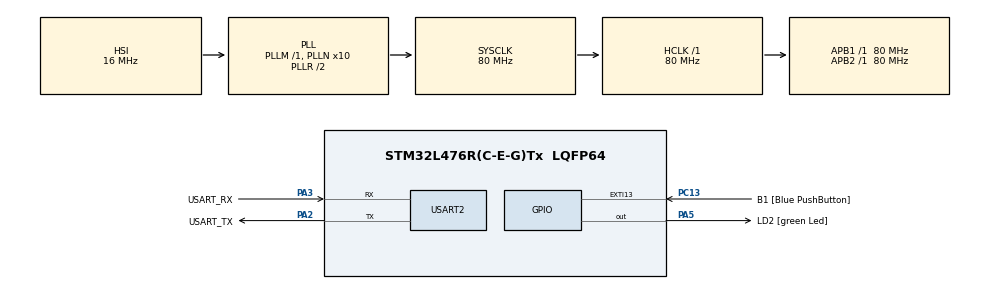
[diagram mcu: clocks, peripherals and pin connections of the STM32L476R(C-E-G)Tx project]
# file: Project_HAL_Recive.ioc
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Mcu.Family=STM32L4
Mcu.Name=STM32L476R(C-E-G)Tx
Mcu.Package=LQFP64
NVIC.PriorityGroup=NVIC_PRIORITYGROUP_4
PA13\ (JTMS-SWDIO).GPIO_Label=TMS
PA13\ (JTMS-SWDIO).Signal=SYS_JTMS-SWDIO
PA14\ (JTCK-SWCLK).GPIO_Label=TCK
PA14\ (JTCK-SWCLK).Signal=SYS_JTCK-SWCLK
PA2.GPIO_Label=USART_TX
PA2.GPIO_Mode=GPIO_MODE_AF_PP
PA2.GPIO_PuPd=GPIO_NOPULL
PA2.GPIO_Speed=GPIO_SPEED_FREQ_VERY_HIGH
PA2.Mode=Asynchronous
PA2.Signal=USART2_TX
PA3.GPIO_Label=USART_RX
PA3.GPIO_Mode=GPIO_MODE_AF_PP
PA3.GPIO_PuPd=GPIO_NOPULL
PA3.GPIO_Speed=GPIO_SPEED_FREQ_VERY_HIGH
PA3.Mode=Asynchronous
PA3.Signal=USART2_RX
PA5.GPIO_Label=LD2 [green Led]
PA5.GPIO_ModeDefaultOutputPP=GPIO_MODE_OUTPUT_PP
PA5.GPIO_PuPd=GPIO_NOPULL
PA5.GPIO_Speed=GPIO_SPEED_FREQ_LOW
PA5.Signal=GPIO_Output
PB3\ (JTDO-TRACESWO).GPIO_Label=SWO
PB3\ (JTDO-TRACESWO).Signal=SYS_JTDO-SWO
PC13.GPIO_Label=B1 [Blue PushButton]
PC13.GPIO_ModeDefaultEXTI=GPIO_MODE_IT_FALLING
PC13.GPIO_PuPd=GPIO_NOPULL
PC13.Signal=GPXTI13
PC14-OSC32_IN\ (PC14).Signal=RCC_OSC32_IN
PC15-OSC32_OUT\ (PC15).Signal=RCC_OSC32_OUT
PH0-OSC_IN\ (PH0).Signal=RCC_OSC_IN
PH1-OSC_OUT\ (PH1).Signal=RCC_OSC_OUT
ProjectManager.HeapSize=0x200
ProjectManager.StackSize=0x400
ProjectManager.TargetToolchain=STM32CubeIDE
RCC.ADCFreq_Value=64000000
RCC.AHBFreq_Value=80000000
RCC.APB1Freq_Value=80000000
RCC.APB1TimFreq_Value=80000000
RCC.APB2Freq_Value=80000000
RCC.APB2TimFreq_Value=80000000
RCC.CortexFreq_Value=80000000
RCC.HCLKFreq_Value=80000000
RCC.HSE_VALUE=8000000
RCC.HSI_VALUE=16000000
RCC.LSE_VALUE=32768
RCC.MSI_VALUE=4000000
RCC.PLLN=10
RCC.PLLSourceVirtual=RCC_PLLSOURCE_HSI
RCC.PREFETCH_ENABLE=1
RCC.SYSCLKFreq_VALUE=80000000
RCC.SYSCLKSource=RCC_SYSCLKSOURCE_PLLCLK
RCC.USBFreq_Value=64000000
RCC.VCOOutputFreq_Value=160000000
USART2.VirtualMode-Asynchronous=VM_ASYNC
board=NUCLEO-L476RG

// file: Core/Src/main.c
/* USER CODE BEGIN Header */
/**
  ******************************************************************************
  * @file           : main.c
  * @brief          : Main program body
  ******************************************************************************
  * @attention
  *
  * Copyright (c) 2022 STMicroelectronics.
  * All rights reserved.
  *
  * This software is licensed under terms that can be found in the LICENSE file
  * in the root directory of this software component.
  * If no LICENSE file comes with this software, it is provided AS-IS.
  *
  ******************************************************************************
  */
/* USER CODE END Header */
#include "main.h"
#include <stdlib.h>
#include "stdio.h"
#include <string.h>

 UART_HandleTypeDef huart2;

void SystemClock_Config(void);
static void MX_GPIO_Init(void);
static void MX_USART2_UART_Init(void);

/* USER CODE BEGIN 0 */
int bufferSize = 100;
int bufferCouner = 0;
char recivBuffer[100];
enum State {IS_OK = 0, START, STOP, FAILED};

enum State reciveData(char *ch)
{
	HAL_StatusTypeDef retValue = HAL_OK;
	if( (*ch != '\r' ) && (bufferCouner < bufferSize))
	{
		  recivBuffer[bufferCouner] = *ch;
		  bufferCouner++;
	}
	else
	{
		if(*ch == '\r' )
		{
			recivBuffer[bufferCouner] = '\r';

			char startCommand[] = "start";
			char stopCommand[] = "stop";
			if (strncmp(recivBuffer,startCommand, sizeof(startCommand)-1) == 0)
			{
				//*value =(int) atoi(recivBuffer);
				//value = recivBuffer;
				retValue = HAL_UART_Transmit(&huart2,(uint8_t*) recivBuffer,bufferCouner, 1);

//				for(int i = 0 ; i < 100; i++)
//				{
//					recivBuffer[i] = ' ';
//				}
				bufferCouner = 0;
				return START;
			}
			else if (strncmp(recivBuffer,stopCommand, sizeof(stopCommand)-1 ) == 0)
			{
				retValue = HAL_UART_Transmit(&huart2, (uint8_t*)recivBuffer,bufferCouner,1);
				//value = atoi(recivBuffer);
				//value = recivBuffer;

//				for(int i = 0 ; i < 100; i++)
//				{
//					recivBuffer[i] = ' ';
//				}
				bufferCouner = 0;
				return STOP;
			}

			if(retValue != HAL_OK)
			{
				return FAILED;
			}
			bufferCouner = 0;

		}
	}
	return IS_OK;
}

/* USER CODE END 0 */

int main(void)
{

  /* MCU Configuration--------------------------------------------------------*/

  /* Reset of all peripherals, Initializes the Flash interface and the Systick. */
  HAL_Init();

  /* Configure the system clock */
  SystemClock_Config();

  /* Initialize all configured peripherals */
  MX_GPIO_Init();
  MX_USART2_UART_Init();
  /* USER CODE BEGIN 2 */

  uint8_t ch;

  HAL_StatusTypeDef retValue ;

  GPIO_PinState currStatus = 0;
  GPIO_PinState prevStatus = 0;
  /* USER CODE END 2 */

  /* Infinite loop */
  while (1)
  {

    /* USER CODE BEGIN 3 */

	 /// uint8_t pDataTransmit = 33;

	 // HAL_UART_Transmit(&huart2, pDataTransmit, 8, 500 );

	  retValue = HAL_UART_Receive(&huart2, &ch , 1, 1);
	  if (retValue == HAL_OK)
	  {

		enum State res = reciveData((char*)&ch);
		if (res == START)
		{
			int value = 5;// (int) atoi(recivBuffer);
			for(int i = 0 ; i < 100; i++)
			{
				recivBuffer[i] = ' ';
			}

		  currStatus = HAL_GPIO_ReadPin(B1_GPIO_Port, B1_Pin);
		  GPIO_PinState last = currStatus;
		  //if (currStatus != prevStatus)
		  {
			  prevStatus = currStatus;
			  HAL_GPIO_TogglePin(LD2_GPIO_Port, LD2_Pin);
			  while(value > 0)
			  {
				  HAL_Delay(500);
				  value--;
				  HAL_GPIO_TogglePin(LD2_GPIO_Port, LD2_Pin);
				  HAL_Delay(200);
			  }

			  if( !HAL_GPIO_ReadPin(B1_GPIO_Port, B1_Pin))
				  HAL_GPIO_TogglePin(LD2_GPIO_Port, LD2_Pin);

		  }

		}

		//	  HAL_UART_Transmit(&huart2,(uint8_t)&d,1, 1);
	  }

  }
  /* USER CODE END 3 */
}

void SystemClock_Config(void)
{
  RCC_OscInitTypeDef RCC_OscInitStruct = {0};
  RCC_ClkInitTypeDef RCC_ClkInitStruct = {0};

  /** Configure the main internal regulator output voltage
  */
  if (HAL_PWREx_ControlVoltageScaling(PWR_REGULATOR_VOLTAGE_SCALE1) != HAL_OK)
  {
    Error_Handler();
  }

  /** Initializes the RCC Oscillators according to the specified parameters
  * in the RCC_OscInitTypeDef structure.
  */
  RCC_OscInitStruct.OscillatorType = RCC_OSCILLATORTYPE_HSI;
  RCC_OscInitStruct.HSIState = RCC_HSI_ON;
  RCC_OscInitStruct.HSICalibrationValue = RCC_HSICALIBRATION_DEFAULT;
  RCC_OscInitStruct.PLL.PLLState = RCC_PLL_ON;
  RCC_OscInitStruct.PLL.PLLSource = RCC_PLLSOURCE_HSI;
  RCC_OscInitStruct.PLL.PLLM = 1;
  RCC_OscInitStruct.PLL.PLLN = 10;
  RCC_OscInitStruct.PLL.PLLP = RCC_PLLP_DIV7;
  RCC_OscInitStruct.PLL.PLLQ = RCC_PLLQ_DIV2;
  RCC_OscInitStruct.PLL.PLLR = RCC_PLLR_DIV2;
  if (HAL_RCC_OscConfig(&RCC_OscInitStruct) != HAL_OK)
  {
    Error_Handler();
  }

  /** Initializes the CPU, AHB and APB buses clocks
  */
  RCC_ClkInitStruct.ClockType = RCC_CLOCKTYPE_HCLK|RCC_CLOCKTYPE_SYSCLK
                              |RCC_CLOCKTYPE_PCLK1|RCC_CLOCKTYPE_PCLK2;
  RCC_ClkInitStruct.SYSCLKSource = RCC_SYSCLKSOURCE_PLLCLK;
  RCC_ClkInitStruct.AHBCLKDivider = RCC_SYSCLK_DIV1;
  RCC_ClkInitStruct.APB1CLKDivider = RCC_HCLK_DIV1;
  RCC_ClkInitStruct.APB2CLKDivider = RCC_HCLK_DIV1;

  if (HAL_RCC_ClockConfig(&RCC_ClkInitStruct, FLASH_LATENCY_4) != HAL_OK)
  {
    Error_Handler();
  }
}

static void MX_USART2_UART_Init(void)
{

  huart2.Instance = USART2;
  huart2.Init.BaudRate = 115200;
  huart2.Init.WordLength = UART_WORDLENGTH_8B;
  huart2.Init.StopBits = UART_STOPBITS_1;
  huart2.Init.Parity = UART_PARITY_NONE;
  huart2.Init.Mode = UART_MODE_TX_RX;
  huart2.Init.HwFlowCtl = UART_HWCONTROL_NONE;
  huart2.Init.OverSampling = UART_OVERSAMPLING_16;
  huart2.Init.OneBitSampling = UART_ONE_BIT_SAMPLE_DISABLE;
  huart2.AdvancedInit.AdvFeatureInit = UART_ADVFEATURE_NO_INIT;
  if (HAL_UART_Init(&huart2) != HAL_OK)
  {
    Error_Handler();
  }

}

static void MX_GPIO_Init(void)
{
  GPIO_InitTypeDef GPIO_InitStruct = {0};

  /* GPIO Ports Clock Enable */
  __HAL_RCC_GPIOC_CLK_ENABLE();
  __HAL_RCC_GPIOH_CLK_ENABLE();
  __HAL_RCC_GPIOA_CLK_ENABLE();
  __HAL_RCC_GPIOB_CLK_ENABLE();

  /*Configure GPIO pin Output Level */
  HAL_GPIO_WritePin(LD2_GPIO_Port, LD2_Pin, GPIO_PIN_RESET);

  /*Configure GPIO pin : B1_Pin */
  GPIO_InitStruct.Pin = B1_Pin;
  GPIO_InitStruct.Mode = GPIO_MODE_IT_FALLING;
  GPIO_InitStruct.Pull = GPIO_NOPULL;
  HAL_GPIO_Init(B1_GPIO_Port, &GPIO_InitStruct);

  /*Configure GPIO pin : LD2_Pin */
  GPIO_InitStruct.Pin = LD2_Pin;
  GPIO_InitStruct.Mode = GPIO_MODE_OUTPUT_PP;
  GPIO_InitStruct.Pull = GPIO_NOPULL;
  GPIO_InitStruct.Speed = GPIO_SPEED_FREQ_LOW;
  HAL_GPIO_Init(LD2_GPIO_Port, &GPIO_InitStruct);

}

void Error_Handler(void)
{
  __disable_irq();
  while (1)
  {
  }
}
